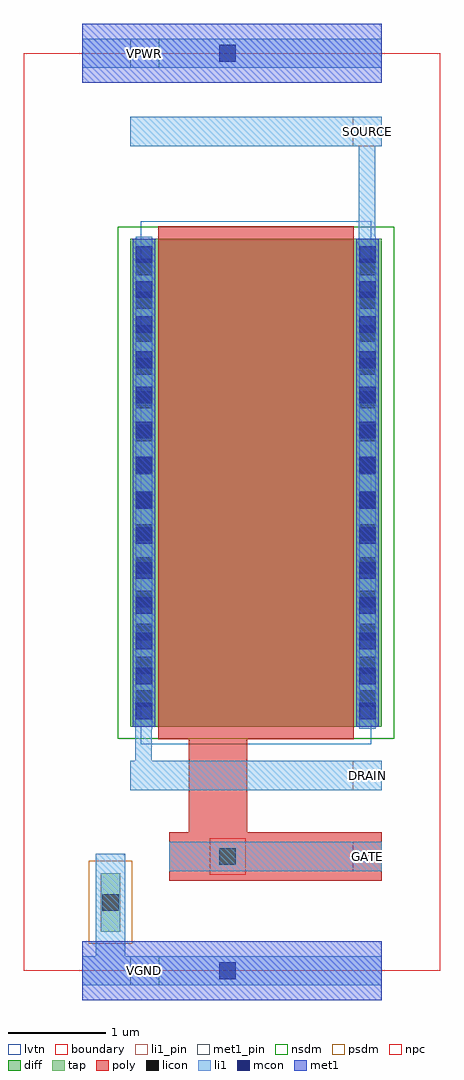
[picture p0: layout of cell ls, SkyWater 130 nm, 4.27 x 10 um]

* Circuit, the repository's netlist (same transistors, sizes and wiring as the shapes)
* NGSPICE file created from ls.ext - technology: sky130A

.subckt ls GATE SOURCE DRAIN VPWR VGND
X0 SOURCE GATE DRAIN VGND sky130_fd_pr__nfet_01v8_lvt ad=1.45e+12p pd=1.058e+07u as=1.45e+12p ps=1.058e+07u w=5e+06u l=2e+06u
.ends

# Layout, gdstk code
import gdstk
lib = gdstk.Library(unit=1e-6, precision=1e-09)
def R(c, l, rs):  # rectangles x0, y0, x1, y1
    for r in rs: c.add(gdstk.rectangle(r[:2], r[2:], *l))
def A(c, l, x, y, w, h, nx, ny, dx, dy):  # array of equal rectangles
    R(c, l, [(x+i*dx, y+j*dy, x+i*dx+w, y+j*dy+h) for i in range(nx) for j in range(ny)])
diff = (65, 20)
tap = (65, 44)
poly = (66, 20)
licon = (66, 44)
li1_pin = (67, 16)
li1 = (67, 20)
mcon = (67, 44)
met1_pin = (68, 16)
met1 = (68, 20)
nsdm = (93, 44)
psdm = (94, 20)
npc = (95, 20)
lvtn = (125, 44)
boundary = (235, 4)

c_ls = lib.new_cell('ls')
R(c_ls, diff, [(1.09,2.5,3.67,7.5)])
R(c_ls, tap, [(0.79,0.4,0.99,1)])
R(c_ls, poly, [(1.49,0.92,3.67,1.42), (1.69,1.42,2.29,2.37), (1.38,2.37,3.38,7.63)])
A(c_ls, licon, 1.15, 2.705, 0.17, 0.17, 1, 14, 0, 0.34)
A(c_ls, licon, 3.44, 2.705, 0.17, 0.17, 1, 14, 0, 0.34)
R(c_ls, licon, [(0.805,0.615,0.975,0.785), (2.005,1.085,2.175,1.255)])
R(c_ls, li1_pin, [(3.37,1.02,3.67,1.32), (3.37,1.85,3.67,2.15), (3.37,8.45,3.67,8.75)])
R(c_ls, li1, [(0.6,-0.15,3.67,0.15), (0.74,0.15,1.04,1.2), (1.49,1.02,3.67,1.32), (1.09,1.85,3.67,2.15), (1.145,2.15,1.315,2.48), (1.145,2.48,1.32,2.77), (3.44,2.48,3.61,7.43), (1.15,2.77,1.32,7.52), (3.435,7.43,3.61,7.52), (3.435,7.52,3.605,8.45), (1.09,8.45,3.67,8.75), (0.6,9.25,3.67,9.55)])
A(c_ls, mcon, 1.15, 2.575, 0.17, 0.17, 1, 14, 0, 0.36)
A(c_ls, mcon, 3.44, 2.575, 0.17, 0.17, 1, 14, 0, 0.36)
R(c_ls, mcon, [(2.005,-0.085,2.175,0.085), (2.005,9.315,2.175,9.485)])
R(c_ls, met1_pin, [(1.09,-0.15,1.39,0.15), (1.09,9.25,1.39,9.55)])
R(c_ls, met1, [(0.6,-0.3,3.67,0.3), (1.12,2.5,1.35,7.5), (3.41,2.5,3.64,7.5), (0.6,9.1,3.67,9.7)])
R(c_ls, nsdm, [(0.965,2.375,3.795,7.625)])
R(c_ls, psdm, [(0.665,0.275,1.115,1.125)])
R(c_ls, npc, [(1.905,0.985,2.275,1.355)])
R(c_ls, lvtn, [(1.2,2.32,3.56,7.68)])
R(c_ls, boundary, [(0,0,4.27,9.4)])
c_ls.add(gdstk.Label('GATE', (3.52,1.17), layer=67, texttype=16))
c_ls.add(gdstk.Label('SOURCE', (3.52,8.6), layer=67, texttype=16))
c_ls.add(gdstk.Label('DRAIN', (3.52,2), layer=67, texttype=16))
c_ls.add(gdstk.Label('VPWR', (1.24,9.4), layer=68, texttype=16))
c_ls.add(gdstk.Label('VGND', (1.24,0), layer=68, texttype=16))

lib.write_gds('ls.gds')
